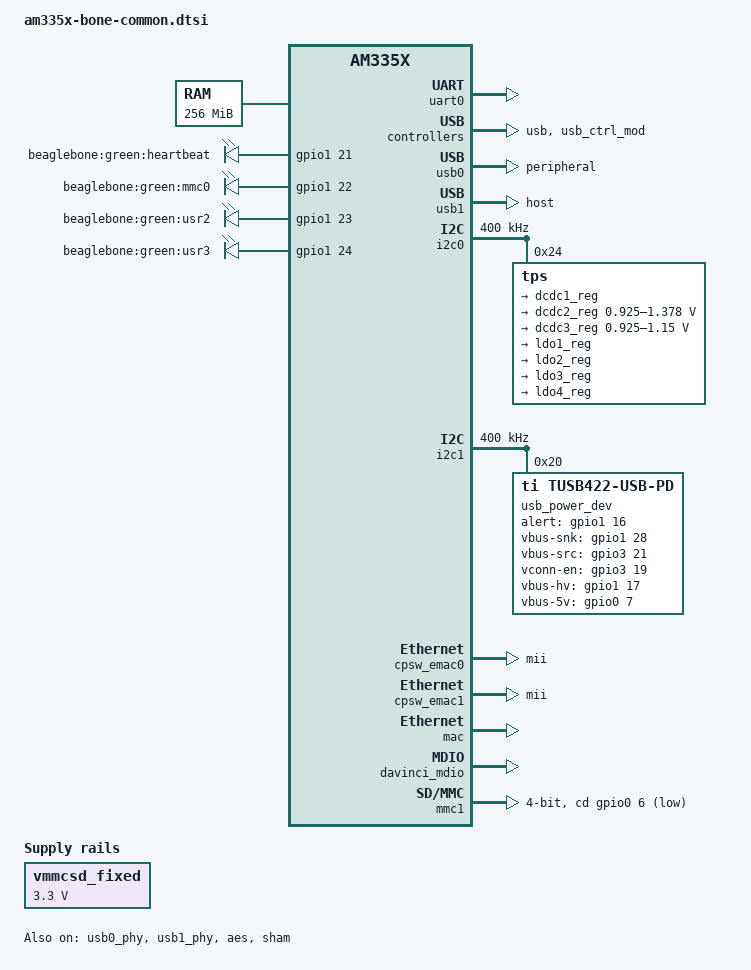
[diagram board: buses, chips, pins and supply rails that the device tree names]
/*
 * Copyright (C) 2012 Texas Instruments Incorporated - http://www.ti.com/
 *
 * This program is free software; you can redistribute it and/or modify
 * it under the terms of the GNU General Public License version 2 as
 * published by the Free Software Foundation.
 */

/ {
	cpus {
		cpu@0 {
			cpu0-supply = <&dcdc2_reg>;
		};
	};

	memory {
		device_type = "memory";
		reg = <0x80000000 0x10000000>; /* 256 MB */
	};

	leds {
		pinctrl-names = "default";
		pinctrl-0 = <&user_leds_s0>;

		compatible = "gpio-leds";

		led@2 {
			label = "beaglebone:green:heartbeat";
			gpios = <&gpio1 21 GPIO_ACTIVE_HIGH>;
			linux,default-trigger = "heartbeat";
			default-state = "off";
		};

		led@3 {
			label = "beaglebone:green:mmc0";
			gpios = <&gpio1 22 GPIO_ACTIVE_HIGH>;
			linux,default-trigger = "mmc0";
			default-state = "off";
		};

		led@4 {
			label = "beaglebone:green:usr2";
			gpios = <&gpio1 23 GPIO_ACTIVE_HIGH>;
			linux,default-trigger = "cpu0";
			default-state = "off";
		};

		led@5 {
			label = "beaglebone:green:usr3";
			gpios = <&gpio1 24 GPIO_ACTIVE_HIGH>;
			linux,default-trigger = "mmc1";
			default-state = "off";
		};
	};

	vmmcsd_fixed: fixedregulator@0 {
		compatible = "regulator-fixed";
		regulator-name = "vmmcsd_fixed";
		regulator-min-microvolt = <3300000>;
		regulator-max-microvolt = <3300000>;
	};
};

&am33xx_pinmux {
	pinctrl-names = "default";
	pinctrl-0 = <&clkout2_pin>;

	user_leds_s0: user_leds_s0 {
		pinctrl-single,pins = <
			0x54 (PIN_OUTPUT_PULLDOWN | MUX_MODE7)	/* gpmc_a5.gpio1_21 */
			0x58 (PIN_OUTPUT_PULLUP | MUX_MODE7)	/* gpmc_a6.gpio1_22 */
			0x5c (PIN_OUTPUT_PULLDOWN | MUX_MODE7)	/* gpmc_a7.gpio1_23 */
			0x60 (PIN_OUTPUT_PULLUP | MUX_MODE7)	/* gpmc_a8.gpio1_24 */
		>;
	};

	i2c0_pins: pinmux_i2c0_pins {
		pinctrl-single,pins = <
			0x188 (PIN_INPUT_PULLUP | MUX_MODE0)	/* i2c0_sda.i2c0_sda */
			0x18c (PIN_INPUT_PULLUP | MUX_MODE0)	/* i2c0_scl.i2c0_scl */
		>;
	};

	i2c1_pins: pinmux_i2c1_pins {
		pinctrl-single,pins = <
			0x158 (PIN_INPUT_PULLUP | MUX_MODE2) 	/* spi0_d1.i2c1_sda */
			0x15c (PIN_INPUT_PULLUP | MUX_MODE2)	/* spi0_cs0.i2c1_scl */
			0x40 (PIN_INPUT | MUX_MODE7) 	/* gpio1_16 alert*/
			0x44 (PIN_OUTPUT | MUX_MODE7) 	/* gpio1_17  hv */
			0x78 (PIN_OUTPUT | MUX_MODE7) /* gpio1_28 OUTPUT_PULLUP | MODE7 vbus_snk */
			0x1a4 ( PIN_OUTPUT | MUX_MODE7 ) /* (C13) mcasp0_fsr.gpio3[19] vbus_src */
			0x1ac ( PIN_OUTPUT | MUX_MODE7 ) /* (A14) mcasp0_ahclkx.gpio3[21] vconn_en*/
			0x164 ( PIN_OUTPUT | MUX_MODE7 ) /* (C18) eCAP0_in_PWM0_out.gpio0[7] 5v gpio*/
		>;
	};

	i2c2_pins: pinmux_i2c2_pins {
		pinctrl-single,pins = <
			0x178 (PIN_INPUT_PULLUP | MUX_MODE3)    /* uart1_ctsn.i2c2_sda */
			0x17c (PIN_INPUT_PULLUP | MUX_MODE3)    /* uart1_rtsn.i2c2_scl */
		>;
	};


	uart0_pins: pinmux_uart0_pins {
		pinctrl-single,pins = <
			0x170 (PIN_INPUT_PULLUP | MUX_MODE0)	/* uart0_rxd.uart0_rxd */
			0x174 (PIN_OUTPUT_PULLDOWN | MUX_MODE0)	/* uart0_txd.uart0_txd */
		>;
	};

	clkout2_pin: pinmux_clkout2_pin {
		pinctrl-single,pins = <
			0x1b4 (PIN_OUTPUT_PULLDOWN | MUX_MODE3)	/* xdma_event_intr1.clkout2 */
		>;
	};

	cpsw_default: cpsw_default {
		pinctrl-single,pins = <
			/* Slave 1 */
			0x110 (PIN_INPUT_PULLUP | MUX_MODE0)	/* mii1_rxerr.mii1_rxerr */
			0x114 (PIN_OUTPUT_PULLDOWN | MUX_MODE0)	/* mii1_txen.mii1_txen */
			0x118 (PIN_INPUT_PULLUP | MUX_MODE0)	/* mii1_rxdv.mii1_rxdv */
			0x11c (PIN_OUTPUT_PULLDOWN | MUX_MODE0)	/* mii1_txd3.mii1_txd3 */
			0x120 (PIN_OUTPUT_PULLDOWN | MUX_MODE0)	/* mii1_txd2.mii1_txd2 */
			0x124 (PIN_OUTPUT_PULLDOWN | MUX_MODE0)	/* mii1_txd1.mii1_txd1 */
			0x128 (PIN_OUTPUT_PULLDOWN | MUX_MODE0)	/* mii1_txd0.mii1_txd0 */
			0x12c (PIN_INPUT_PULLUP | MUX_MODE0)	/* mii1_txclk.mii1_txclk */
			0x130 (PIN_INPUT_PULLUP | MUX_MODE0)	/* mii1_rxclk.mii1_rxclk */
			0x134 (PIN_INPUT_PULLUP | MUX_MODE0)	/* mii1_rxd3.mii1_rxd3 */
			0x138 (PIN_INPUT_PULLUP | MUX_MODE0)	/* mii1_rxd2.mii1_rxd2 */
			0x13c (PIN_INPUT_PULLUP | MUX_MODE0)	/* mii1_rxd1.mii1_rxd1 */
			0x140 (PIN_INPUT_PULLUP | MUX_MODE0)	/* mii1_rxd0.mii1_rxd0 */
		>;
	};

	cpsw_sleep: cpsw_sleep {
		pinctrl-single,pins = <
			/* Slave 1 reset value */
			0x110 (PIN_INPUT_PULLDOWN | MUX_MODE7)
			0x114 (PIN_INPUT_PULLDOWN | MUX_MODE7)
			0x118 (PIN_INPUT_PULLDOWN | MUX_MODE7)
			0x11c (PIN_INPUT_PULLDOWN | MUX_MODE7)
			0x120 (PIN_INPUT_PULLDOWN | MUX_MODE7)
			0x124 (PIN_INPUT_PULLDOWN | MUX_MODE7)
			0x128 (PIN_INPUT_PULLDOWN | MUX_MODE7)
			0x12c (PIN_INPUT_PULLDOWN | MUX_MODE7)
			0x130 (PIN_INPUT_PULLDOWN | MUX_MODE7)
			0x134 (PIN_INPUT_PULLDOWN | MUX_MODE7)
			0x138 (PIN_INPUT_PULLDOWN | MUX_MODE7)
			0x13c (PIN_INPUT_PULLDOWN | MUX_MODE7)
			0x140 (PIN_INPUT_PULLDOWN | MUX_MODE7)
		>;
	};

	davinci_mdio_default: davinci_mdio_default {
		pinctrl-single,pins = <
			/* MDIO */
			0x148 (PIN_INPUT_PULLUP | SLEWCTRL_FAST | MUX_MODE0)	/* mdio_data.mdio_data */
			0x14c (PIN_OUTPUT_PULLUP | MUX_MODE0)			/* mdio_clk.mdio_clk */
		>;
	};

	davinci_mdio_sleep: davinci_mdio_sleep {
		pinctrl-single,pins = <
			/* MDIO reset value */
			0x148 (PIN_INPUT_PULLDOWN | MUX_MODE7)
			0x14c (PIN_INPUT_PULLDOWN | MUX_MODE7)
		>;
	};

	mmc1_pins_default: pinmux_mmc1_pins {
		pinctrl-single,pins = <
			0x0F0 (PIN_INPUT_PULLUP | MUX_MODE0)	/* mmc0_dat3.mmc0_dat3 */
			0x0F4 (PIN_INPUT_PULLUP | MUX_MODE0)	/* mmc0_dat2.mmc0_dat2 */
			0x0F8 (PIN_INPUT_PULLUP | MUX_MODE0)	/* mmc0_dat1.mmc0_dat1 */
			0x0FC (PIN_INPUT_PULLUP | MUX_MODE0)	/* mmc0_dat0.mmc0_dat0 */
			0x100 (PIN_INPUT_PULLUP | MUX_MODE0)	/* mmc0_clk.mmc0_clk */
			0x104 (PIN_INPUT_PULLUP | MUX_MODE0)	/* mmc0_cmd.mmc0_cmd */
			0x1A0 (PIN_INPUT_PULLUP | MUX_MODE7)	/* mcasp0_aclkr.gpio3_18 */
			0x160 (PIN_INPUT | MUX_MODE7)		/* spi0_cs1.gpio0_6 */
		>;
	};

	mmc1_pins_sleep: pinmux_mmc1_pins_sleep {
		pinctrl-single,pins = <
			0x0F0 (PIN_INPUT_PULLDOWN | MUX_MODE7)
			0x0F4 (PIN_INPUT_PULLDOWN | MUX_MODE7)
			0x0F8 (PIN_INPUT_PULLDOWN | MUX_MODE7)
			0x0FC (PIN_INPUT_PULLDOWN | MUX_MODE7)
			0x100 (PIN_INPUT_PULLDOWN | MUX_MODE7)
			0x104 (PIN_INPUT_PULLDOWN | MUX_MODE7)
			0x1A0 (PIN_INPUT_PULLDOWN | MUX_MODE7)
			0x160 (PIN_INPUT_PULLDOWN | MUX_MODE7)
		>;
	};

	emmc_pins: pinmux_emmc_pins {
		pinctrl-single,pins = <
			0x80 (PIN_INPUT_PULLUP | MUX_MODE2) /* gpmc_csn1.mmc1_clk */
			0x84 (PIN_INPUT_PULLUP | MUX_MODE2) /* gpmc_csn2.mmc1_cmd */
			0x00 (PIN_INPUT_PULLUP | MUX_MODE1) /* gpmc_ad0.mmc1_dat0 */
			0x04 (PIN_INPUT_PULLUP | MUX_MODE1) /* gpmc_ad1.mmc1_dat1 */
			0x08 (PIN_INPUT_PULLUP | MUX_MODE1) /* gpmc_ad2.mmc1_dat2 */
			0x0c (PIN_INPUT_PULLUP | MUX_MODE1) /* gpmc_ad3.mmc1_dat3 */
			0x10 (PIN_INPUT_PULLUP | MUX_MODE1) /* gpmc_ad4.mmc1_dat4 */
			0x14 (PIN_INPUT_PULLUP | MUX_MODE1) /* gpmc_ad5.mmc1_dat5 */
			0x18 (PIN_INPUT_PULLUP | MUX_MODE1) /* gpmc_ad6.mmc1_dat6 */
			0x1c (PIN_INPUT_PULLUP | MUX_MODE1) /* gpmc_ad7.mmc1_dat7 */
		>;
	};
};

&uart0 {
	pinctrl-names = "default";
	pinctrl-0 = <&uart0_pins>;

	status = "okay";
};

&usb {
	status = "okay";
};

&usb_ctrl_mod {
	status = "okay";
};

&usb0_phy {
	status = "okay";
};

&usb1_phy {
	status = "okay";
};

&usb0 {
	status = "okay";
	dr_mode = "peripheral";
};

&usb1 {
	status = "okay";
	dr_mode = "host";
};

&cppi41dma  {
	status = "okay";
};

&i2c0 {
	pinctrl-names = "default";
	pinctrl-0 = <&i2c0_pins>;

	status = "okay";
	clock-frequency = <400000>;

	tps: tps@24 {
		reg = <0x24>;
	};

};

&i2c1 {
	status = "okay";
	pinctrl-names = "default";
	pinctrl-0 = <&i2c1_pins>;

	clock-frequency = <400000>;

	usb_power_dev: usb_power_dev@20 {
		compatible = "ti,tusb422-usb-pd";
		reg = <0x20>;
		ti,alert-gpio = <&gpio1 16 GPIO_ACTIVE_HIGH>;
		ti,vbus-snk-gpio = <&gpio1 28 GPIO_ACTIVE_HIGH>;
		ti,vbus-src-gpio = <&gpio3 21 GPIO_ACTIVE_HIGH>;
		ti,vconn-en-gpio = <&gpio3 19 GPIO_ACTIVE_HIGH>;
		ti,vbus-hv-gpio = <&gpio1 17 GPIO_ACTIVE_HIGH>;
		ti,vbus-5v-gpio = <&gpio0 7 GPIO_ACTIVE_HIGH>;

		/* Port Config See the tusb422_common.h */
		ti,usb_comm_capable;
		ti,no_usb_suspend;
		/* Uncomment the below tags to make them true for the driver
		 * otherwise they are false */
		/* ti,usb_suspend_supported;
		ti,externally_powered;
		ti,dual_role_data;
		ti,unchunked_msg_support;
		ti,higher_capability;
		ti,giveback_flag; */

		ti,src_settling_time_ms = <50>;
		ti,fast_role_support = <0>;
		ti,priority = <0>;
		ti,role = <2>;
		ti,rp_val = <2>;
		ti,flags = <0>;

		source@1 {
			ti,current-flow = <0>; /* 0 for source 1 for sink */
			ti,supply-type = <0>;
			ti,pdo_number = <0>;
			ti,min-voltage = <5000>;
			ti,max-voltage = <0>;
			ti,peak_current = <0>;
			ti,max_current = <3000>;
			ti,max_power = <0>;
		};

		source@2 {
			ti,current-flow = <0>; /* 0 for source 1 for sink */
			ti,supply-type = <0>;
			ti,pdo_number = <1>;
			ti,min-voltage = <15000>;
			ti,max-voltage = <0>;
			ti,peak_current = <0>;
			ti,max_current = <3000>;
			ti,max_power = <0>;
		};

		sink@1 {
			ti,current-flow = <1>; /* 0 for source 1 for sink */
			ti,supply-type = <0>;
			ti,pdo_number = <0>;
			ti,min-voltage = <5000>;
			ti,max-voltage = <0>;
			ti,max-operating-curr = <3000>;
			ti,min-operating-curr = <900>;
			ti,operational-curr = <900>;
			ti,max-operating-pwr = <0>;
			ti,min-operating-pwr = <0>;
			ti,operational-pwr = <0>;
			ti,peak_current = <0>;
		};

		sink@2 {
			ti,current-flow = <1>; /* 0 for source 1 for sink */
			ti,supply-type = <0>;
			ti,pdo_number = <1>;
			ti,min-voltage = <3200>;
			ti,max-voltage = <5000>;
			ti,max-operating-curr = <0>;
			ti,min-operating-curr = <0>;
			ti,operational-curr = <0>;
			ti,max-operating-pwr = <0>;
			ti,min-operating-pwr = <0>;
			ti,operational-pwr = <0>;
			ti,peak_current = <0>;
		};

	};
};

/include/ "tps65217.dtsi"

&tps {
	/*
	 * Configure pmic to enter OFF-state instead of SLEEP-state ("RTC-only
	 * mode") at poweroff.  Most BeagleBone versions do not support RTC-only
	 * mode and risk hardware damage if this mode is entered.
	 *
	 * For details, see linux-omap mailing list May 2015 thread
	 *	[PATCH] ARM: dts: am335x-bone* enable pmic-shutdown-controller
	 * In particular, messages:
	 *	http://www.spinics.net/lists/linux-omap/msg118585.html
	 *	http://www.spinics.net/lists/linux-omap/msg118615.html
	 *
	 * You can override this later with
	 *	&tps {  /delete-property/ ti,pmic-shutdown-controller;  }
	 * if you want to use RTC-only mode and made sure you are not affected
	 * by the hardware problems. (Tip: double-check by performing a current
	 * measurement after shutdown: it should be less than 1 mA.)
	 */
	ti,pmic-shutdown-controller;

	regulators {
		dcdc1_reg: regulator@0 {
			regulator-name = "vdds_dpr";
			regulator-always-on;
		};

		dcdc2_reg: regulator@1 {
			/* VDD_MPU voltage limits 0.95V - 1.325V with +/-4% tolerance */
			regulator-name = "vdd_mpu";
			regulator-min-microvolt = <925000>;
			regulator-max-microvolt = <1378000>;
			regulator-boot-on;
			regulator-always-on;
		};

		dcdc3_reg: regulator@2 {
			/* VDD_CORE voltage limits 0.95V - 1.1V with +/-4% tolerance */
			regulator-name = "vdd_core";
			regulator-min-microvolt = <925000>;
			regulator-max-microvolt = <1150000>;
			regulator-boot-on;
			regulator-always-on;
		};

		ldo1_reg: regulator@3 {
			regulator-name = "vio,vrtc,vdds";
			regulator-always-on;
		};

		ldo2_reg: regulator@4 {
			regulator-name = "vdd_3v3aux";
			regulator-always-on;
		};

		ldo3_reg: regulator@5 {
			regulator-name = "vdd_1v8";
			regulator-always-on;
		};

		ldo4_reg: regulator@6 {
			regulator-name = "vdd_3v3a";
			regulator-always-on;
		};
	};
};

&cpsw_emac0 {
	phy_id = <&davinci_mdio>, <0>;
	phy-mode = "mii";
};

&cpsw_emac1 {
	phy_id = <&davinci_mdio>, <1>;
	phy-mode = "mii";
};

&mac {
	pinctrl-names = "default", "sleep";
	pinctrl-0 = <&cpsw_default>;
	pinctrl-1 = <&cpsw_sleep>;
	status = "okay";
};

&davinci_mdio {
	pinctrl-names = "default", "sleep";
	pinctrl-0 = <&davinci_mdio_default>;
	pinctrl-1 = <&davinci_mdio_sleep>;
	status = "okay";
};

&mmc1 {
	status = "okay";
	bus-width = <0x4>;
	pinctrl-names = "default", "sleep";
	pinctrl-0 = <&mmc1_pins_default>;
	pinctrl-1 = <&mmc1_pins_sleep>;
	cd-gpios = <&gpio0 6 GPIO_ACTIVE_HIGH>;
	cd-inverted;
};

&aes {
	status = "okay";
};

&sham {
	status = "okay";
};

&wkup_m3_ipc {
	ti,scale-data-fw = "am335x-bone-scale-data.bin";
};

&rtc {
	system-power-controller;
};
